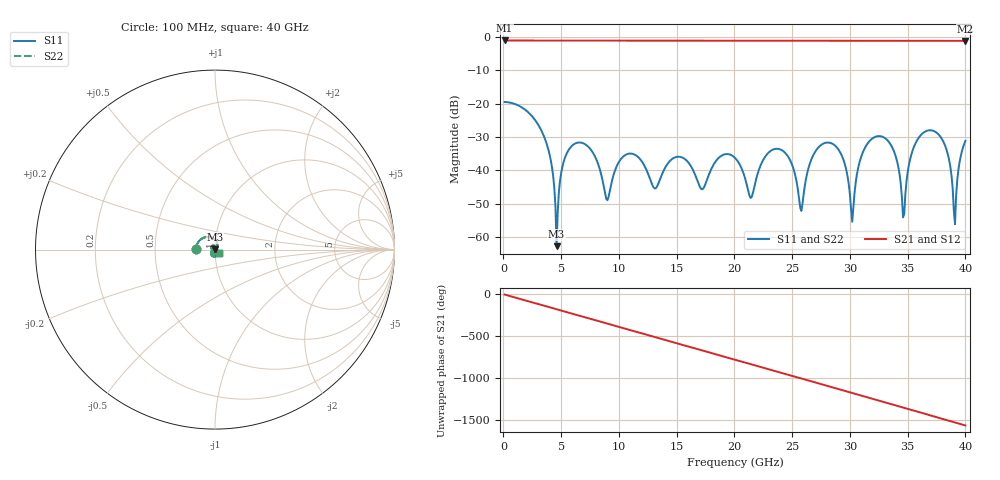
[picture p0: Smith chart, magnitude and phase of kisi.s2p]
! T_ts6_ms_20: Microstrip L1, ThunderScope stack, w 0.265 mm, 20 mm
! stackup: ThunderScope Rev5.3 6-layer (FR408HR / FR-4, from the board file)
! ports: 1 near A, 2 far A
! kisi-fdtd, conformal, dfine 0.035 mm, 624512 cells
# Hz S RI R 50
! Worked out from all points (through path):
!   400 points, 100 MHz to 40 GHz, reference 50 ohm
!   highest |S21| = -0.98 dB at 100 MHz (marker M1); lowest = -1.1 dB at 40 GHz (marker M2)
!   group delay of S21, straight-line fit = 109 ps
!   lowest |S11| = -62.8 dB at 4.6 GHz (marker M3), VSWR 1.00, Z = 50 + j0.0718 ohm
!   |S11| at or under -10 dB: start of sweep to end of sweep
!   |S22| runs from -62.8 to -19.5 dB; largest |S21 - S12| = 0
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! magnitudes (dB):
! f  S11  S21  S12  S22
! 100 MHz  -19.5  -1.0  -1.0  -19.5
! 3.6 GHz  -30.6  -1.0  -1.0  -30.6
! 4.6 GHz  -62.8  -1.0  -1.0  -62.8
! 5.1 GHz  -39.0  -1.0  -1.0  -39.0
! 6.8 GHz  -31.8  -1.0  -1.0  -31.8
! 9 GHz  -49.0  -1.0  -1.0  -49.0
! 10.7 GHz  -35.2  -1.0  -1.0  -35.2
! 13.4 GHz  -44.1  -1.0  -1.0  -44.1
! 20.1 GHz  -36.5  -1.0  -1.0  -36.5
! 21.4 GHz  -48.3  -1.1  -1.1  -48.3
! 24.2 GHz  -34.2  -1.1  -1.1  -34.2
! 25.8 GHz  -52.2  -1.1  -1.1  -52.2
! 26.7 GHz  -36.4  -1.1  -1.1  -36.4
! 29.1 GHz  -34.3  -1.1  -1.1  -34.3
! 30.2 GHz  -55.5  -1.1  -1.1  -55.5
! 31.2 GHz  -34.0  -1.1  -1.1  -34.0
! 33.4 GHz  -31.6  -1.1  -1.1  -31.6
! 34.6 GHz  -54.1  -1.1  -1.1  -54.1
! 35.6 GHz  -32.5  -1.1  -1.1  -32.5
! 37.8 GHz  -29.7  -1.1  -1.1  -29.7
! 39.1 GHz  -56.2  -1.1  -1.1  -56.2
! 40 GHz  -31.2  -1.1  -1.1  -31.2
